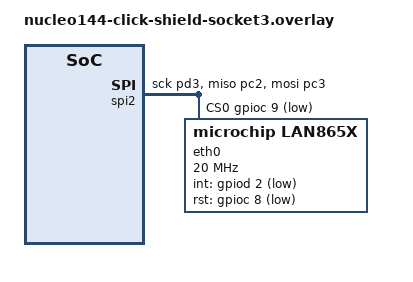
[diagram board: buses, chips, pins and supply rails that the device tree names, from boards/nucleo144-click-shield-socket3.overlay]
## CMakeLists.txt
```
cmake_minimum_required(VERSION 3.20.0)

find_package(Zephyr REQUIRED HINTS $ENV{ZEPHYR_BASE})

project(with_click_shield)

target_sources(app PRIVATE src/main.c)
```

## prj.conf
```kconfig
CONFIG_SPI=y
CONFIG_GPIO=y

# Bridging received 10BASE-T1S frames out over CAN. Harmless when can.overlay
# is not applied: main.c compiles the bridge out if the can1 node is disabled.
CONFIG_CAN=y

CONFIG_NETWORKING=y
CONFIG_NET_L2_ETHERNET=y
CONFIG_NET_MGMT=y
CONFIG_NET_MGMT_EVENT=y

# Not needed to see link/carrier status, but harmless and useful for
# poking at the interface manually over the console (net iface, net stats).
CONFIG_NET_SHELL=y

# Note when reading rx errors: every "OA RX: Data chunk not valid, skip!" bumps
# the rx error counter. The OA TC6 spec makes the driver read a data chunk on
# every IRQ_N assertion (that is the only way to deassert it), so interrupts
# that were not about pending RX data come back with the footer's DV bit clear
# and are counted as errors. On a healthy link those are expected.
CONFIG_NET_STATISTICS=y
CONFIG_NET_STATISTICS_ETHERNET=y

# Capture every frame on the segment, not just those addressed to our MAC.
# The LAN865x driver advertises ETHERNET_PROMISC_MODE and implements it by
# setting CAF in the MAC's NCFGR register.
CONFIG_NET_PROMISCUOUS_MODE=n

# Raw AF_PACKET socket, so main.c can see EtherTypes the IP stack has no
# handler for (0x88b5 test traffic, for instance). Without this such frames are
# dropped at L2 and never reach the application.
CONFIG_NET_SOCKETS=y
CONFIG_NET_SOCKETS_PACKET=y
CONFIG_NET_CONTEXT_RCVTIMEO=y

CONFIG_LOG=y
CONFIG_LOG_DEFAULT_LEVEL=3
CONFIG_NET_LOG=y
# DHCPv4 depends on NET_IPV4 - without it the DHCPV4 symbol is silently dropped
# ("assigned the value 'y' but got the value 'n'"). The stack also does not
# start DHCP by itself; main.c calls net_dhcpv4_start().
CONFIG_NET_IPV4=y
CONFIG_NET_DHCPV4=y

# Verbose logging for the LAN865x SPI/PHY bring-up path specifically.
CONFIG_ETHERNET_LOG_LEVEL_DBG=n
CONFIG_PHY_LOG_LEVEL_DBG=y
CONFIG_SPI_LOG_LEVEL_DBG=n
```

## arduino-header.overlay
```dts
/*
 * Alternative wiring: click board on the Nucleo's Arduino headers (CN7/CN10)
 * instead of the ST morpho headers.
 *
 *   west build -b nucleo_f439zi -p always . \
 *       -DEXTRA_DTC_OVERLAY_FILE=arduino-header.overlay
 *
 *   click mikroBUS pin        Nucleo Arduino pin   STM32
 *   ------------------------  -------------------  -----
 *   4  SCK                    D13                  PA5
 *   5  MISO (SDO)             D12                  PA6
 *   6  MOSI (SDI)             D11                  PA7
 *   3  CS                     D10                  PD14
 *   2  RST                    D8                   PF12
 *   15 INT (IRQ)              D7                   PF13
 *   7  3.3V                   3V3                  -
 *   8  GND                    GND                  -
 *
 * The reason to prefer this one: it keeps RST off PH1/OSC_OUT, so the HSE stays
 * enabled and the system clock remains crystal-derived rather than running off
 * the HSI's +/-1% RC oscillator. That matters for latency timestamps.
 *
 * Verified working: LAN865x device ready, link up, iface up=1 carrier_ok=1.
 */

#include <zephyr/dt-bindings/gpio/gpio.h>

/* Undo the base overlay's HSI switch - PH1 is not used here, so the board's
 * default HSE-bypass clocking off the ST-LINK's 8 MHz MCO can stay.
 */
&clk_hsi {
	status = "disabled";
};

&clk_hse {
	hse-bypass;
	clock-frequency = <8000000>;
	status = "okay";
};

&pll {
	div-m = <8>;
	mul-n = <336>;
	div-p = <2>;
	div-q = <7>;
	clocks = <&clk_hse>;
	status = "okay";
};

&spi1 {
	pinctrl-0 = <&spi1_sck_pa5 &spi1_miso_pa6 &spi1_mosi_pa7>;
	pinctrl-names = "default";

	cs-gpios = <&gpiod 14 GPIO_ACTIVE_LOW>;
};

&eth0 {
	int-gpios = <&gpiof 13 GPIO_ACTIVE_LOW>;
	rst-gpios = <&gpiof 12 GPIO_ACTIVE_LOW>;
};
```

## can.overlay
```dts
/*
 * CAN1 on the STM32F439ZI's on-chip bxCAN controller, for bridging received
 * 10BASE-T1S frames out onto CAN.
 *
 *   west build -b nucleo_f439zi -p always . -DEXTRA_DTC_OVERLAY_FILE=can.overlay
 *
 * Stackable with the wiring overlays, semicolon-separated:
 *   -DEXTRA_DTC_OVERLAY_FILE="click-shield.overlay;can.overlay"
 *
 * WIRING - the STM32 has a CAN controller but NO transceiver. CAN is a
 * differential bus, so a TJA1050 / SN65HVD230 / MCP2562-class transceiver must
 * sit between these pins and the wire:
 *
 *   STM32 pin   Nucleo morpho   Transceiver
 *   ---------   -------------   -----------
 *   PD1 (TX)    CN11 pin 55     TXD / D
 *   PD0 (RX)    CN11 pin 57     RXD / R
 *   3V3         3V3             VCC   (check the module is 3.3V-tolerant)
 *   GND         GND             GND
 *
 * PD0/PD1 were chosen because they clash with nothing else in this project.
 * Avoid CAN2 on PB5/PB6: PB5 is the SPI MOSI line to the LAN8651.
 *
 * bxCAN on STM32F4 is classic CAN 2.0 only - 8-byte payloads, 1 Mbit/s max.
 * There is no CAN FD on this part.
 */

&can1 {
	pinctrl-0 = <&can1_rx_pd0 &can1_tx_pd1>;
	pinctrl-names = "default";
	bitrate = <500000>;
	status = "okay";

	/* Passive transceiver - no standby/enable line driven by the MCU. If
	 * your module has an STB/EN pin, either strap it to the active level in
	 * hardware or replace this with a "can-transceiver-gpio" phy node.
	 */
	can-transceiver {
		max-bitrate = <1000000>;
	};
};
```

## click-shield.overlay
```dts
/*
 * MikroE Click Shield for Nucleo-144, click board in socket 3.
 *
 *   west build -b nucleo_f439zi -p always . \
 *       -DEXTRA_DTC_OVERLAY_FILE=click-shield.overlay
 *
 * The shield routes socket 3 to exactly the pins the default overlay already
 * uses, so this file re-asserts them rather than changing them. It exists to
 * make the shield configuration explicit, to hold the shield-specific notes
 * below, and to give the two setups somewhere to diverge if they ever need to.
 *
 *   signal   shield conn   Nucleo morpho   STM32
 *   -------  ------------  --------------  -----
 *   SCK      CN2 pin 31    CN12 pin 31     PB3
 *   MISO     CN2 pin 27    CN12 pin 27     PB4
 *   MOSI     CN2 pin 29    CN12 pin 29     PB5
 *   CS3      CN2 pin 66    CN12 pin 66     PG8
 *   INT3     CN2 pin 69    CN12 pin 69     PG4
 *   RST3     CN1 pin 31    CN11 pin 31     PH1
 *
 * Derived from the Click Shield for Nucleo-144 v102 schematic cross-referenced
 * against UM1974 Table 21 (which covers NUCLEO-F439ZI).
 *
 * Socket 3 is the only usable socket: sockets 1 and 2 put RST on CN11 pins 13
 * and 15, which are PA13/PA14 - SWDIO/SWCLK, wired to the onboard ST-LINK.
 *
 * STATUS: working - but ONLY with the socket 3 logic-level switch set to 3V3.
 *
 *   *** SET THE SOCKET 3 LEVEL SWITCH TO 3V3 BEFORE PLUGGING THE CLICK IN. ***
 *
 * The shield has one logic-level switch per socket, selecting VLS1..VLS4
 * between 3V3 and 5V. Socket 3's translators - U8 (SPI/CS/RST) and U9 (INT) -
 * take VLS3 as their VCCB. The Two-Wire ETH Click is a 3.3V board.
 *
 * Found the hard way: with the switch on 5V the translators drive 5V into the
 * LAN8651's 3.3V I/O. SPI reads succeed intermittently, oa_tc6 reports
 * "Header transmission error!", and the chip eventually stops responding
 * entirely. Two different shields behaved identically, because both were at the
 * default switch position. The same pinout on direct jumper leads always worked,
 * since that path has no translators.
 *
 * To check: pull the click out, leave the shield powered, and measure DC volts
 * from a socket 3 GND pin (mikroBUS pin 8 or 9) to a socket 3 signal pin
 * (pin 2 RST or pin 3 CS). The translator's B-side pull-up sits at VCCB, so you
 * read VLS3 directly - it must be ~3.3V, not ~5V.
 *
 * Also watch for:
 *
 *   - The IRQ_N power-ordering trap, if the shield powers the click from its own
 *     USB-C ahead of the STM32 booting. See docs/direct-lan8651-stm32f439zi.md.
 *   - Do not drive RST low for long periods. MikroE's pinout table labels the
 *     click's RST pin "Reset / ID SEL"; a multi-millisecond assertion may latch
 *     the chip into a different configuration at reset release.
 *
 * The HSI clock switch that RST3/PH1 requires lives in the default overlay -
 * see boards/nucleo_f439zi.overlay.
 */

#include <zephyr/dt-bindings/gpio/gpio.h>

&spi1 {
	pinctrl-0 = <&spi1_sck_pb3 &spi1_miso_pb4 &spi1_mosi_pb5>;
	pinctrl-names = "default";

	cs-gpios = <&gpiog 8 GPIO_ACTIVE_LOW>;
};

&eth0 {
	int-gpios = <&gpiog 4 GPIO_ACTIVE_LOW>;
	rst-gpios = <&gpioh 1 GPIO_ACTIVE_LOW>;
};
```

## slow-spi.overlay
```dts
/*
 * Drop the SPI clock to 1 MHz.
 *
 * Stackable with any of the wiring overlays - separate the files with a
 * semicolon and quote the list:
 *
 *   west build -b nucleo_f439zi -p always . \
 *       -DEXTRA_DTC_OVERLAY_FILE="click-shield.overlay;slow-spi.overlay"
 *
 * Use it to separate a signal-integrity problem from a wiring or configuration
 * problem: if something works at 1 MHz and fails at 20 MHz, the SPI path is
 * marginal; if it fails identically at both, look elsewhere.
 *
 * Note that the Click Shield's "Header transmission error!" symptoms turned out
 * NOT to be a speed problem - the socket 3 logic-level switch was on 5V, so the
 * translators were driving 5V into the LAN8651's 3.3V I/O. Check that first;
 * see click-shield.overlay.
 */

&eth0 {
	spi-max-frequency = <1000000>;
};
```

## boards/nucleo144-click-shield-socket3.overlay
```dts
/*
 * MikroE Click Shield for Nucleo-144, click board in socket 3.
 *
 *   west build -p always -b nucleo_f439zi -- -DDTC_OVERLAY_FILE=boards/nucleo144-click-shield-socket3.overlay
 *
 *   click mikroBUS pin          STM32
 *   ------------------------  -----
 *   4  SCK                     PD3
 *   5  MISO (SDO)              PC2
 *   6  MOSI (SDI)              PC3
 *   3  CS                      PC9
 *   15 INT (IRQ)               PD2
 *   2  RST                     PC8
 *   7  3.3V                     -
 *   8  GND                      -
 */

 #include <zephyr/dt-bindings/gpio/gpio.h>

&clk_hse {
	status = "disabled";
};

&clk_hsi {
	status = "okay";
};

&pll {
	div-m = <8>;
	mul-n = <168>;
	div-p = <2>;
	div-q = <7>;
	clocks = <&clk_hsi>;
	status = "okay";
};
&mac {
	status = "disabled";
};

&mdio {
	status = "disabled";
};

&eth_phy {
	status = "disabled";
};
&spi2 {
	status = "okay";
	pinctrl-0 = <&spi2_sck_pd3 &spi2_miso_pc2 &spi2_mosi_pc3>;
	pinctrl-names = "default";

	cs-gpios = <&gpioc 9 GPIO_ACTIVE_LOW>;

    eth0: lan865x@0 {
		compatible = "microchip,lan865x";
		status = "okay";
		reg = <0>;
		spi-cs-setup-delay-ns = <1000>;
		phy-handle = <&phy_two_wire_eth_click>;

		int-gpios = <&gpiod 2 GPIO_ACTIVE_LOW>;
	    rst-gpios = <&gpioc 8 GPIO_ACTIVE_LOW>;

		spi-max-frequency = <20000000>;

		/* The LAN8651 has no MAC address in OTP, so without this
		 * net_eth_mac_load() yields 00:00:00:00:00:00, net_if rejects it
		 * ("Invalid MAC address for iface") and the interface stays down.
		 *
		 * Locally-administered address (bit 1 of the first octet set, bit 0
		 * clear). Last octet matches plca-node-id so nodes stay easy to tell
		 * apart in captures - give every other node on the bus its own.
		 */
		local-mac-address = [02 00 00 00 00 01];

		mdio_two_wire_eth_click: lan865x_mdio {
			compatible = "microchip,lan865x-mdio";
			status = "okay";
			#address-cells = <1>;
			#size-cells = <0>;

			phy_two_wire_eth_click: ethernet-phy@0 {
				compatible = "microchip,t1s-phy";
				reg = <0x0>;
				status = "okay";

				plca-enable;
				plca-node-id = <1>;
				plca-node-count = <4>;
				plca-burst-count = <0x0>;
				plca-burst-timer = <0x80>;
				plca-to-timer = <0x20>;
			};
		};
	};
};
```

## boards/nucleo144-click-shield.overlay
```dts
/*
 * MikroE Click Shield for Nucleo-144, click board in socket 2.
 *
 *   west build -p always -b nucleo_f439zi -- -DDTC_OVERLAY_FILE=boards/nucleo144-click-shield.overlay
 *
 *   click mikroBUS pin          STM32
 *   ------------------------  -----
 *   4  SCK                     PD3
 *   5  MISO (SDO)              PC2
 *   6  MOSI (SDI)              PC3
 *   3  CS                      PB9
 *   15 INT (IRQ)               PD1
 *   2  RST                     PC7
 *   7  3.3V                     -
 *   8  GND                      -
 */

 #include <zephyr/dt-bindings/gpio/gpio.h>

&clk_hse {
	status = "disabled";
};

&clk_hsi {
	status = "okay";
};

&pll {
	div-m = <8>;
	mul-n = <168>;
	div-p = <2>;
	div-q = <7>;
	clocks = <&clk_hsi>;
	status = "okay";
};
&mac {
	status = "disabled";
};

&mdio {
	status = "disabled";
};

&eth_phy {
	status = "disabled";
};
&spi2 {
	status = "okay";
	pinctrl-0 = <&spi2_sck_pd3 &spi2_miso_pc2 &spi2_mosi_pc3>;
	pinctrl-names = "default";

	cs-gpios = <&gpiob 9 GPIO_ACTIVE_LOW>;

    eth0: lan865x@0 {
		compatible = "microchip,lan865x";
		status = "okay";
		reg = <0>;
		spi-cs-setup-delay-ns = <1000>;
		phy-handle = <&phy_two_wire_eth_click>;

		int-gpios = <&gpiod 1 GPIO_ACTIVE_LOW>;
	    rst-gpios = <&gpioc 7 GPIO_ACTIVE_LOW>;

		spi-max-frequency = <20000000>;

		/* The LAN8651 has no MAC address in OTP, so without this
		 * net_eth_mac_load() yields 00:00:00:00:00:00, net_if rejects it
		 * ("Invalid MAC address for iface") and the interface stays down.
		 *
		 * Locally-administered address (bit 1 of the first octet set, bit 0
		 * clear). Last octet matches plca-node-id so nodes stay easy to tell
		 * apart in captures - give every other node on the bus its own.
		 */
		local-mac-address = [02 00 00 00 00 01];

		mdio_two_wire_eth_click: lan865x_mdio {
			compatible = "microchip,lan865x-mdio";
			status = "okay";
			#address-cells = <1>;
			#size-cells = <0>;

			phy_two_wire_eth_click: ethernet-phy@0 {
				compatible = "microchip,t1s-phy";
				reg = <0x0>;
				status = "okay";

				plca-enable;
				plca-node-id = <1>;
				plca-node-count = <4>;
				plca-burst-count = <0x0>;
				plca-burst-timer = <0x80>;
				plca-to-timer = <0x20>;
			};
		};
	};
};
```

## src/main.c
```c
#include <stdio.h>
#include <zephyr/kernel.h>
#include <zephyr/device.h>
#include <zephyr/net/net_if.h>
#include <zephyr/net/net_mgmt.h>
#include <zephyr/net/ethernet.h>
#include <zephyr/net/ethernet_mgmt.h>
#include <zephyr/net/phy.h>
#include <zephyr/net/net_pkt.h>
#include <zephyr/net/promiscuous.h>
#include <zephyr/net/dhcpv4.h>
#include <zephyr/net/socket.h>
#include <zephyr/net/ethernet.h>
#include <errno.h>

#if DT_NODE_HAS_STATUS(DT_NODELABEL(can1), okay)
#define HAS_CAN 1
#include <zephyr/drivers/can.h>
#else
#define HAS_CAN 0
#endif

static struct net_mgmt_event_callback carrier_cb;

static void carrier_event_handler(struct net_mgmt_event_callback *cb, uint64_t mgmt_event,
				   struct net_if *iface)
{
	if (mgmt_event == NET_EVENT_ETHERNET_CARRIER_ON) {
		printf("Carrier ON  (link up),   Timestamp: %lld ms\n", k_uptime_get());
	} else if (mgmt_event == NET_EVENT_ETHERNET_CARRIER_OFF) {
		printf("Carrier OFF (link down), Timestamp: %lld ms\n", k_uptime_get());
	}
}

static const struct device *const eth_dev = DEVICE_DT_GET(DT_NODELABEL(eth0));

/* Read back what the PHY actually has in its PLCA registers, rather than what
 * devicetree asked for - the two differ. phy_mc_t1s applies the DT properties
 * at init, but forces node_count to 0 on any node whose plca-node-id is not 0,
 * because only the coordinator (node 0) advertises the count.
 */
static struct net_mgmt_event_callback ipv4_cb;

static void ipv4_event_handler(struct net_mgmt_event_callback *cb, uint64_t mgmt_event,
			       struct net_if *iface)
{
	if (mgmt_event != NET_EVENT_IPV4_ADDR_ADD) {
		return;
	}

	for (int i = 0; i < NET_IF_MAX_IPV4_ADDR; i++) {
		char buf[NET_IPV4_ADDR_LEN];

		if (iface->config.ip.ipv4->unicast[i].ipv4.addr_type != NET_ADDR_DHCP) {
			continue;
		}

		printf("DHCPv4 address: %s\n",
		       net_addr_ntop(NET_AF_INET,
				     &iface->config.ip.ipv4->unicast[i].ipv4.address.in_addr, buf,
				     sizeof(buf)));
		printf("DHCPv4 subnet:  %s\n",
		       net_addr_ntop(NET_AF_INET, &iface->config.ip.ipv4->unicast[i].netmask, buf,
				     sizeof(buf)));
		printf("DHCPv4 router:  %s\n",
		       net_addr_ntop(NET_AF_INET, &iface->config.ip.ipv4->gw, buf, sizeof(buf)));
		printf("DHCPv4 lease:   %u seconds, Timestamp: %lld ms\n",
		       iface->config.dhcpv4.lease_time, k_uptime_get());
	}
}

#if HAS_CAN
/* The CAN ID every bridged frame is sent with. Standard 11-bit. */
#define BRIDGE_CAN_ID 0x123

static const struct device *const can_dev = DEVICE_DT_GET(DT_NODELABEL(can1));
static uint32_t can_tx_ok;
static uint32_t can_tx_err;

static int can_bridge_init(void)
{
	int ret;

	if (!device_is_ready(can_dev)) {
		printf("CAN: %s not ready\n", can_dev->name);
		return -1;
	}

	/* Zephyr requires an explicit start; the controller comes up stopped. */
	ret = can_start(can_dev);
	if (ret < 0 && ret != -EALREADY) {
		printf("CAN: start failed (%d)\n", ret);
		return -1;
	}

	printf("CAN: %s started, bridging to ID 0x%03x\n", can_dev->name, BRIDGE_CAN_ID);
	return 0;
}

/* Map one received Ethernet frame to one 8-byte CAN frame.
 *
 * Classic CAN carries 8 bytes, so the whole 64-byte Ethernet frame cannot be
 * forwarded. We send what matters for the latency bench: the sequence number
 * from the payload, plus the low 32 bits of the arrival cycle count.
 *
 * Layout (big-endian, so it reads naturally in candump):
 *   [0..3] sequence number, taken from the first 4 payload bytes
 *   [4..7] k_cycle_get_32() sampled when the frame was received
 *
 * can_send() is called with K_NO_WAIT and no callback: it hands the frame to a
 * free TX mailbox and returns. Blocking here would put console-and-queue delay
 * inside the very path being measured. If all three bxCAN mailboxes are busy it
 * returns -EAGAIN, which is counted rather than retried - a retry would smear
 * the timestamp.
 */
static void can_bridge_send(const uint8_t *buf, size_t len, uint32_t rx_cycles)
{
	struct can_frame frame = {
		.id = BRIDGE_CAN_ID,
		.dlc = 8,
		.flags = 0,
	};
	uint32_t seq = 0;
	int ret;

	/* Payload starts after the 14-byte Ethernet header. */
	if (len >= sizeof(struct net_eth_hdr) + sizeof(seq)) {
		memcpy(&seq, buf + sizeof(struct net_eth_hdr), sizeof(seq));
		seq = ntohl(seq);
	}

	sys_put_be32(seq, &frame.data[0]);
	sys_put_be32(rx_cycles, &frame.data[4]);

	ret = can_send(can_dev, &frame, K_NO_WAIT, NULL, NULL);
	if (ret < 0) {
		can_tx_err++;
	} else {
		can_tx_ok++;
	}
}
#endif /* HAS_CAN */

static uint32_t rx_frames;

/* One line per received frame. Note the cost: printf() over the console UART is
 * far slower than a 10BASE-T1S frame, so leaving this enabled will distort any
 * latency measurement and will drop frames under load. Fine for bring-up and
 * for confirming who is on the bus; turn it off before taking numbers.
 */
static void rx_frame_report(const uint8_t *buf, size_t len)
{
	const struct net_eth_hdr *hdr = (const struct net_eth_hdr *)buf;

	rx_frames++;

	if (len < sizeof(*hdr)) {
		printf("RX #%u: runt, %zu bytes, Timestamp: %lld ms\n", rx_frames, len,
		       k_uptime_get());
		return;
	}

	printf("RX #%u: %02x:%02x:%02x:%02x:%02x:%02x -> %02x:%02x:%02x:%02x:%02x:%02x "
	       "type=0x%04x len=%zu, Timestamp: %lld ms"
#if HAS_CAN
	       "  [CAN ok=%u err=%u]"
#endif
	       "\n",
	       rx_frames, hdr->src.addr[0], hdr->src.addr[1], hdr->src.addr[2], hdr->src.addr[3],
	       hdr->src.addr[4], hdr->src.addr[5], hdr->dst.addr[0], hdr->dst.addr[1],
	       hdr->dst.addr[2], hdr->dst.addr[3], hdr->dst.addr[4], hdr->dst.addr[5],
	       ntohs(hdr->type), len, k_uptime_get()
#if HAS_CAN
	       , can_tx_ok, can_tx_err
#endif
	);
}

/* Raw AF_PACKET socket bound to the interface.
 *
 * Needed because EtherType 0x88b5 (and anything else non-IP) has no handler in
 * the IP stack - such frames are dropped at L2 and never surface to the app.
 * A packet socket sees them regardless of protocol.
 *
 * It does NOT bypass the MAC's address filter: the LAN8651 only passes frames
 * addressed to our MAC or to broadcast/multicast unless promiscuous mode is on.
 * Address your test traffic to this node's MAC, or re-enable
 * CONFIG_NET_PROMISCUOUS_MODE to sniff everything.
 */
static int rx_socket_open(struct net_if *iface)
{
	struct net_sockaddr_ll addr = {0};
	int sock;
	int ret;

	sock = zsock_socket(NET_AF_PACKET, NET_SOCK_RAW, htons(ETH_P_ALL));
	if (sock < 0) {
		printf("RX socket: create failed, errno %d\n", errno);
		return -1;
	}

	addr.sll_family = NET_AF_PACKET;
	addr.sll_ifindex = net_if_get_by_iface(iface);

	ret = zsock_bind(sock, (const struct net_sockaddr *)&addr, sizeof(addr));
	if (ret < 0) {
		printf("RX socket: bind failed, errno %d\n", errno);
		zsock_close(sock);
		return -1;
	}

	return sock;
}

static void plca_report(struct net_if *iface)
{
	const struct device *phy = net_eth_get_phy(iface);
	struct phy_plca_cfg cfg = {0};
	bool sts = false;
	int ret;

	if (phy == NULL) {
		printf("PLCA: no PHY bound to this interface\n");
		return;
	}

	ret = phy_get_plca_cfg(phy, &cfg);
	if (ret < 0) {
		printf("PLCA: cfg read failed (%d)\n", ret);
		return;
	}

	printf("PLCA: enable=%d node_id=%u node_count=%u burst_count=%u burst_timer=0x%02x "
	       "to_timer=0x%02x\n",
	       cfg.enable, cfg.node_id, cfg.node_count, cfg.burst_count, cfg.burst_timer,
	       cfg.to_timer);

	ret = phy_get_plca_sts(phy, &sts);
	if (ret < 0) {
		printf("PLCA: status read failed (%d)\n", ret);
		return;
	}

	printf("PLCA: status=%d (%s)\n", sts,
	       sts ? "operating - beacon seen" : "NOT operating - no beacon on the segment");

	if (cfg.enable && !sts) {
		printf("PLCA: exactly one node on the segment must have plca-node-id = <0>;\n");
		printf("      it is the coordinator that sends the BEACON. Without it PLCA\n");
		printf("      stays idle and the segment falls back to CSMA/CD.\n");
	}
}

int main(void)
{
	printf("main() started, Timestamp: %lld ms\n", k_uptime_get());

	if (!device_is_ready(eth_dev)) {
		printf("Error: LAN865x device not ready (init failed), Timestamp: %lld ms\n",
		       k_uptime_get());
		return 0;
	}

	printf("LAN865x device ready, Timestamp: %lld ms\n", k_uptime_get());

	struct net_if *iface = net_if_get_default();

	if (!iface) {
		printf("Error: no network interface found\n");
		return 0;
	}

	uint8_t *mac = net_if_get_link_addr(iface)->addr;

	printf("MAC: %02x:%02x:%02x:%02x:%02x:%02x\n", mac[0], mac[1], mac[2], mac[3], mac[4],
	       mac[5]);

	net_mgmt_init_event_callback(&carrier_cb, carrier_event_handler,
				      NET_EVENT_ETHERNET_CARRIER_ON |
					      NET_EVENT_ETHERNET_CARRIER_OFF);
	net_mgmt_add_event_callback(&carrier_cb);

	plca_report(iface);

	/* DHCPv4 does not start itself - the stack only reacts once the app asks
	 * for it. Needs CONFIG_NET_IPV4 as well as CONFIG_NET_DHCPV4; without
	 * IPV4 the DHCPV4 symbol is silently dropped at Kconfig time.
	 */
	net_mgmt_init_event_callback(&ipv4_cb, ipv4_event_handler, NET_EVENT_IPV4_ADDR_ADD);
	net_mgmt_add_event_callback(&ipv4_cb);

	printf("Starting DHCPv4...\n");
	net_dhcpv4_start(iface);

	/* Promiscuous mode so we see every frame on the segment, not just the
	 * ones addressed to our MAC or to broadcast. The clone handed to us by
	 * net_if_recv_data() is taken before L2 processing, so the Ethernet
	 * header is still intact.
	 */
	if (IS_ENABLED(CONFIG_NET_PROMISCUOUS_MODE)) {
		int ret = net_promisc_mode_on(iface);

		if (ret < 0 && ret != -EALREADY) {
			printf("Warning: promiscuous mode failed (%d)\n", ret);
		} else {
			printf("Promiscuous mode on - every frame on the segment is visible\n");
		}
	} else {
		printf("Promiscuous mode off - only frames addressed to %02x:%02x:%02x:%02x:%02x:"
		       "%02x, broadcast or multicast will arrive\n",
		       mac[0], mac[1], mac[2], mac[3], mac[4], mac[5]);
	}

#if HAS_CAN
	can_bridge_init();
#endif

	int sock = rx_socket_open(iface);

	if (sock < 0) {
		printf("No RX socket - received frames will not be printed\n");
	} else {
		printf("Raw AF_PACKET socket open - printing every frame received\n");
	}

	/* Poll, but only print status when something actually changes - carrier
	 * transitions already arrive through carrier_event_handler, so a
	 * periodic reprint of an unchanged state is just console noise.
	 */
	int prev_up = -1, prev_carrier = -1, prev_oper = -1;

	static uint8_t rx_buf[NET_ETH_MAX_FRAME_SIZE];

	while (1) {
		if (sock >= 0) {
			/* Wait up to 500 ms for a frame, so the status check below
			 * still runs on a quiet bus.
			 */
			struct zsock_pollfd fds = {.fd = sock, .events = ZSOCK_POLLIN};

			if (zsock_poll(&fds, 1, 500) > 0) {
				int n = zsock_recv(sock, rx_buf, sizeof(rx_buf), 0);
				__maybe_unused uint32_t rx_cycles = k_cycle_get_32();

				if (n > 0) {
#if HAS_CAN
					/* Bridge first, print second. printf() over
					 * the UART takes milliseconds - putting it
					 * ahead of can_send() would dominate the
					 * Ethernet-to-CAN latency being measured.
					 */
					can_bridge_send(rx_buf, (size_t)n, rx_cycles);
#endif
					rx_frame_report(rx_buf, (size_t)n);
				} else if (n < 0) {
					printf("RX socket: recv error, errno %d\n", errno);
				}
			}
		} else {
			k_msleep(500);
		}

		int up = net_if_is_up(iface);
		int carrier = net_if_is_carrier_ok(iface);
		int oper = net_if_oper_state(iface);

		if (up != prev_up || carrier != prev_carrier || oper != prev_oper) {
			printf("iface up=%d carrier_ok=%d oper_state=%d,  Timestamp: %lld ms\n", up,
			       carrier, oper, k_uptime_get());
			prev_up = up;
			prev_carrier = carrier;
			prev_oper = oper;
		}
	}

	return 0;
}
```
